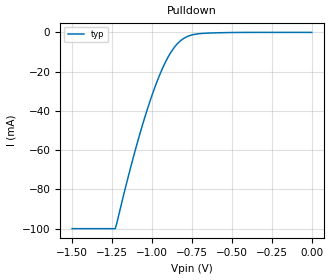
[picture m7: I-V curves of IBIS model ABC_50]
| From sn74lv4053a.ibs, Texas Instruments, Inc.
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[Model]   ABC_50
Model_type   Input
Vinl = 1.5
Vinh = 3.5
|   typ   min   max
C_comp   2pf   NA   NA
[Voltage Range]   5   NA   NA
[Temperature Range]   27   NA   NA
[Power Clamp Reference]   5   NA   NA
[GND Clamp Reference]   -0   NA   NA
[Pulldown]
|   Voltage   I(typ)   I(min)   I(max)
-1.5V     -100mA     NA         NA
-1.23V    -100mA     NA         NA
-1.11V    -61.55mA   NA         NA
-1.05V    -44.56mA   NA         NA
-1V       -32.03mA   NA         NA
-950mV    -21.26mA   NA         NA
-910mV    -14.19mA   NA         NA
-860mV    -7.591mA   NA         NA
-820mV    -4.156mA   NA         NA
-760mV    -1.53mA    NA         NA
-670mV    -449.8uA   NA         NA
0V        0A         NA         NA
